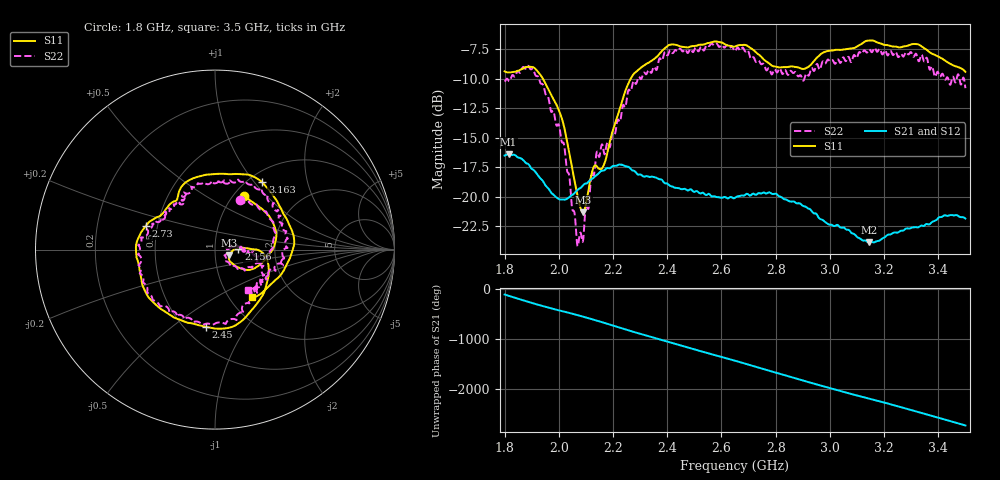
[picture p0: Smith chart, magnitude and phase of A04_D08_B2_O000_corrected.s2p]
! Created with skrf 1.9.0 (http://scikit-rf.org).
# Hz S RI R 50.0
!freq ReS11 ImS11 ReS21 ImS21 ReS12 ImS12 ReS22 ImS22
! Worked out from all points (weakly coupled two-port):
!   1601 points, 1.8 GHz to 3.5 GHz, reference 50 ohm
!   highest |S21| = -16.42 dB at 1.815 GHz (marker M1); lowest = -23.9 dB at 3.144 GHz (marker M2)
!   lowest |S11| = -21.3 dB at 2.09 GHz (marker M3), VSWR 1.19, Z = 58.6 - j3.51 ohm
!   |S11| at or under -10 dB: 1.942 GHz to 2.265 GHz (323.4 MHz wide, 15.4 % of centre)
!   |S22| runs from -24.2 to -7.0 dB; largest |S21 - S12| = 0.003
!   S11 on the Smith chart (normalised r, x): 1.8 GHz: 1.12, +0.76; 2.156 GHz: 1.30, +0.00; 2.45 GHz: 0.63, -0.67; 2.73 GHz: 0.43, +0.14; 3.163 GHz: 1.16, +1.10; 3.5 GHz: 1.27, -0.76
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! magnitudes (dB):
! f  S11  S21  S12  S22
! 1.8 GHz  -9.4  -16.5  -16.5  -10.2
! 1.815 GHz  -9.5  -16.4  -16.4  -10.2
! 1.888 GHz  -9.0  -17.3  -17.3  -8.9
! 1.941 GHz  -10.0  -18.7  -18.7  -10.5
! 2.013 GHz  -13.5  -20.2  -20.3  -15.4
! 2.067 GHz  -19.7  -19.5  -19.5  -23.9
! 2.084 GHz  -21.2  -19.2  -19.2  -23.4
! 2.09 GHz  -21.3  -19.0  -19.1  -23.6
! 2.127 GHz  -17.6  -18.4  -18.4  -18.2
! 2.156 GHz  -17.7  -17.8  -17.9  -15.8
! 2.19 GHz  -15.2  -17.6  -17.6  -15.7
! 2.262 GHz  -10.1  -17.6  -17.6  -11.0
! 2.367 GHz  -8.0  -18.5  -18.4  -8.6
! 2.45 GHz  -7.3  -19.4  -19.4  -7.5
! 2.65 GHz  -7.3  -20.1  -20.1  -7.7
! 2.73 GHz  -7.8  -19.8  -19.9  -8.6
! 2.934 GHz  -8.7  -21.2  -21.2  -9.1
! 3.144 GHz  -6.8  -23.9  -23.8  -7.5
! 3.163 GHz  -6.8  -23.9  -23.8  -7.4
! 3.217 GHz  -7.2  -23.2  -23.2  -7.9
! 3.326 GHz  -7.1  -22.6  -22.6  -8.4
! 3.5 GHz  -9.4  -21.9  -21.9  -10.8
